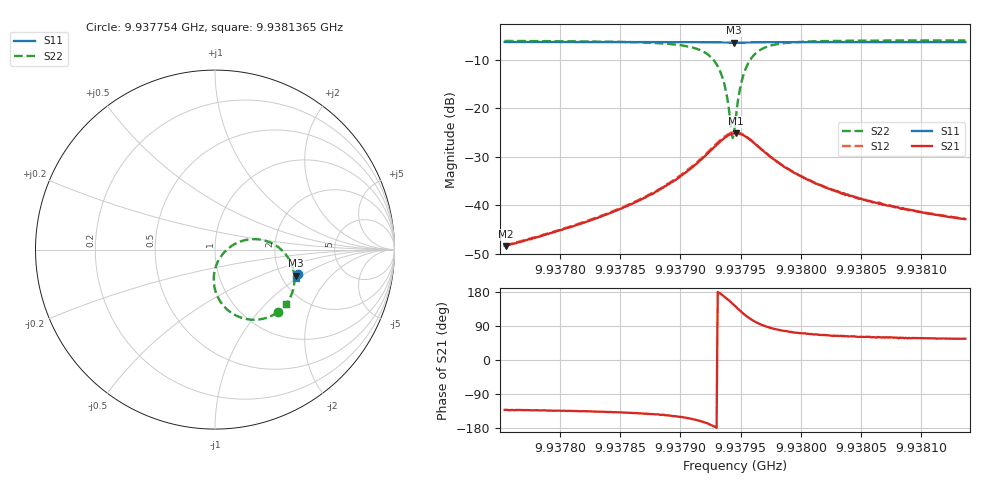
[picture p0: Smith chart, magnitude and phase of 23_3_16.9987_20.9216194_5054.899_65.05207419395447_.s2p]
#  HZ  S  RI  R  50.00
! Rohde & Schwarz Vector Network Analyzer
! Rohde-Schwarz,ZNB20-2Port,1311601062101988,3.16
! Created: UTC 3/20/2024, 10:53:05 PM
! freq[Hz]  re:S11  im:S11  re:S21  im:S21  re:S12  im:S12  re:S22  im:S22
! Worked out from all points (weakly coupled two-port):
!   401 points, 9.937754 GHz to 9.9381365 GHz, reference 50 ohm
!   highest |S21| = -25.15 dB at 9.9379462 GHz (marker M1); lowest = -48.5 dB at 9.937755 GHz (marker M2)
!   lowest |S11| = -6.5 dB at 9.9379443 GHz (marker M3), VSWR 2.80, Z = 120 - j45 ohm
!   |S11| at or under -10 dB: nowhere
!   |S22| runs from -26.2 to -6.0 dB; largest |S21 - S12| = 0.0028
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9.937754e9  0.462 -0.1357  -0.00253 -0.00284  -0.00261 -0.00281  0.3501 -0.3477
9.93775496e9  0.4618 -0.1357  -0.00251 -0.00282  -0.00261 -0.00282  0.35 -0.3477
9.93781807e9  0.4602 -0.1401  -0.00463 -0.00456  -0.00478 -0.00457  0.3279 -0.3619
9.93785441e9  0.4589 -0.1427  -0.00725 -0.00637  -0.0075 -0.00637  0.3024 -0.3744
9.93788214e9  0.4578 -0.1448  -0.0117 -0.00854  -0.0119 -0.00841  0.2635 -0.3862
9.93791178e9  0.4556 -0.1472  -0.0238 -0.0101  -0.0245 -0.00988  0.1608 -0.3836
9.93792708e9  0.4534 -0.148  -0.0383 -0.00398  -0.0399 -0.00331  0.0483 -0.314
9.93793473e9  0.452 -0.1472  -0.0468 0.00706  -0.048 0.00891  -0.00307 -0.2089
9.93793856e9  0.4515 -0.1465  -0.0487 0.016  -0.0497 0.0185  -0.00457 -0.1325
9.93794238e9  0.4513 -0.1455  -0.0472 0.0262  -0.0475 0.029  0.0245 -0.0512
9.93794429e9  0.4513 -0.145  -0.0451 0.0313  -0.045 0.034  0.0512 -0.0153
9.93794525e9  0.4515 -0.1447  -0.0437 0.0336  -0.0434 0.0363  0.0675 0.00111
9.93794621e9  0.4516 -0.1445  -0.0421 0.0358  -0.0414 0.0385  0.0849 0.0149
9.93794907e9  0.4521 -0.1439  -0.0358 0.041  -0.0346 0.0434  0.1438 0.046
9.9379529e9  0.453 -0.1434  -0.0264 0.0448  -0.0248 0.0465  0.2252 0.0583
9.93795672e9  0.4541 -0.1436  -0.0176 0.045  -0.0158 0.0462  0.2954 0.0445
9.93796246e9  0.4552 -0.144  -0.00749 0.0415  -0.00583 0.0422  0.3684 0.000504
9.93797776e9  0.4564 -0.1463  0.00405 0.0291  0.00487 0.0292  0.4365 -0.1149
9.93800932e9  0.4562 -0.1498  0.00646 0.0161  0.00689 0.0162  0.4354 -0.2223
9.93803514e9  0.4555 -0.1519  0.00584 0.0119  0.00621 0.0118  0.4233 -0.2573
9.93807339e9  0.4546 -0.1549  0.00495 0.00862  0.0053 0.00837  0.4097 -0.2839
9.9381365e9  0.4527 -0.1592  0.00398 0.00595  0.00414 0.0059  0.3952 -0.305
